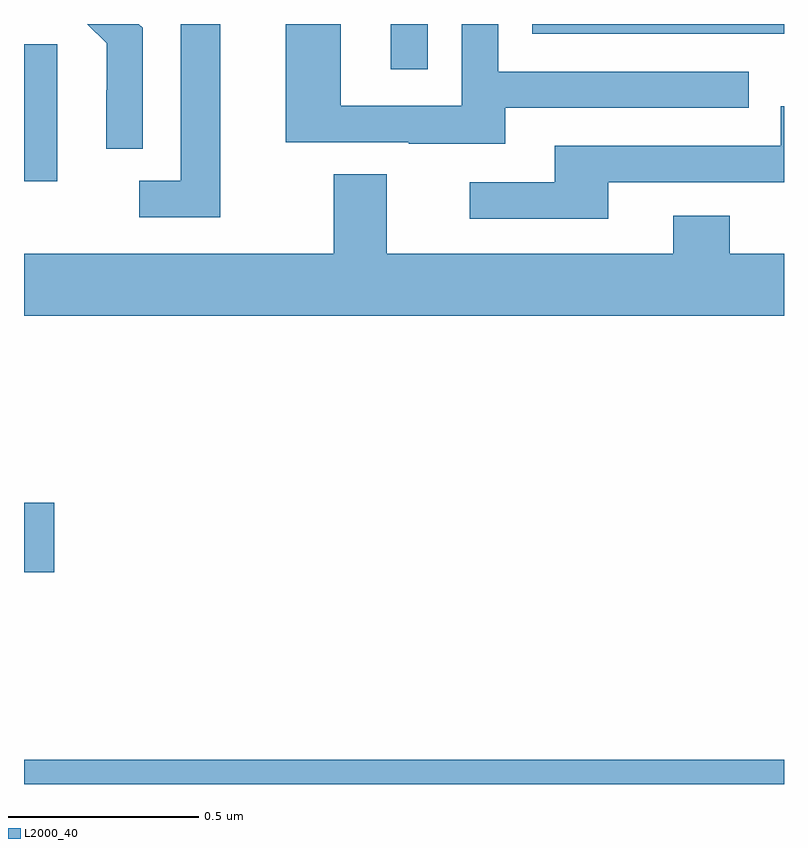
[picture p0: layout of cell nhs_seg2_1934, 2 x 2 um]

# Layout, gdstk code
import gdstk
lib = gdstk.Library(unit=1e-6, precision=1e-09)
def R(c, l, rs):  # rectangles x0, y0, x1, y1
    for r in rs: c.add(gdstk.rectangle(r[:2], r[2:], *l))
def P(c, l, *ps):  # polygons
    for p in ps: c.add(gdstk.Polygon(p, *l))
L2000_40 = (2000, 40)

nhs_seg2_1934 = lib.new_cell('nhs_seg2_1934')
R(nhs_seg2_1934, L2000_40, [(135,583.8,137,583.864), (135,584.357,135.079,584.54), (135,585.386,135.088,585.747), (135.965,585.681,136.062,585.8), (136.338,585.774,137,585.8)])
P(nhs_seg2_1934, L2000_40, [(135.312,585.79),(135.302,585.8),(135.166,585.8),(135.218,585.749),(135.218,585.626),(135.216,585.626),(135.216,585.472),(135.312,585.472)],
  [(136.267,585.579),(136.907,585.579),(136.907,585.675),(136.248,585.675),(136.248,585.8),(136.152,585.8),(136.152,585.585),(135.834,585.585),(135.834,585.8),(135.689,585.8),(135.689,585.489),(136.013,585.489),(136.013,585.485),(136.267,585.485)],
  [(135.517,585.8),(135.413,585.8),(135.413,585.387),(135.303,585.387),(135.303,585.291),(135.517,585.291)],
  [(136.537,585.384),(137,585.384),(137,585.583),(136.992,585.583),(136.992,585.48),(136.397,585.48),(136.397,585.384),(136.173,585.384),(136.173,585.288),(136.537,585.288)],
  [(137,585.196),(136.857,585.196),(136.857,585.295),(136.709,585.295),(136.709,585.196),(135.955,585.196),(135.955,585.404),(135.815,585.404),(135.815,585.196),(135,585.196),(135,585.032),(137,585.032)])

lib.write_gds('nhs_seg2_1934.gds')
